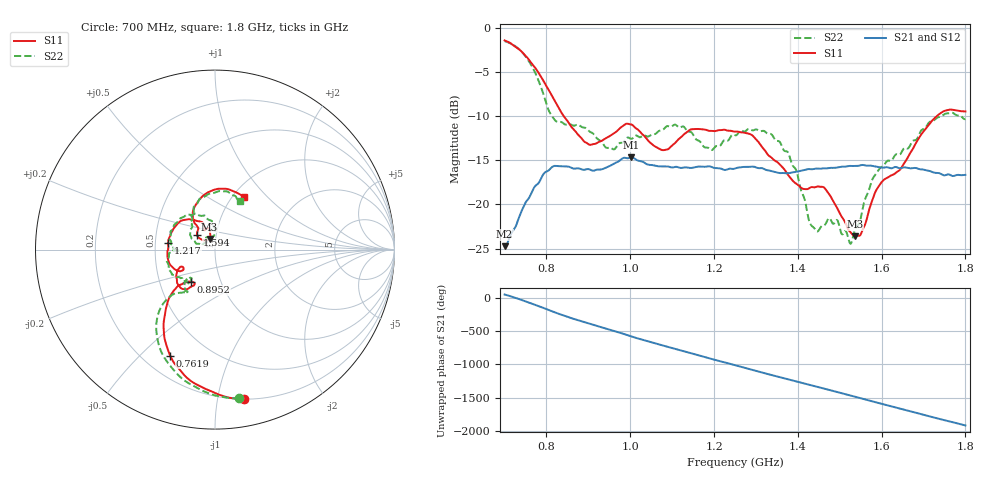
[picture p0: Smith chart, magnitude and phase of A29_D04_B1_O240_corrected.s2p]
! Created with skrf 1.9.0 (http://scikit-rf.org).
# Hz S RI R 50.0
!freq ReS11 ImS11 ReS21 ImS21 ReS12 ImS12 ReS22 ImS22
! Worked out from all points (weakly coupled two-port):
!   1601 points, 700 MHz to 1.8 GHz, reference 50 ohm
!   highest |S21| = -14.67 dB at 1.002 GHz (marker M1); lowest = -24.7 dB at 700 MHz (marker M2)
!   lowest |S11| = -23.6 dB at 1.536 GHz (marker M3), VSWR 1.14, Z = 46.8 + j5.51 ohm
!   |S11| at or under -10 dB: 841.1 MHz to 1.731 GHz (890.1 MHz wide, 69.2 % of centre)
!   |S22| runs from -24.4 to -1.5 dB; largest |S21 - S12| = 0.0033
!   S11 on the Smith chart (normalised r, x): 700 MHz: 0.20, -1.19; 761.9 MHz: 0.31, -0.62; 895.2 MHz: 0.72, -0.27; 1.217 GHz: 0.59, +0.05; 1.594 GHz: 0.81, +0.13; 1.8 GHz: 1.12, +0.75
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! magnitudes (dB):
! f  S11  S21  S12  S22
! 700 MHz  -1.4  -24.7  -24.5  -1.5
! 761.9 MHz  -3.9  -18.9  -18.9  -4.1
! 818.2 MHz  -8.1  -15.6  -15.8  -10.3
! 883.6 MHz  -12.5  -16.0  -15.9  -11.2
! 895.2 MHz  -13.0  -16.0  -16.1  -11.4
! 957.8 MHz  -12.0  -15.5  -15.5  -13.7
! 1.002 GHz  -10.9  -14.7  -14.8  -12.6
! 1.067 GHz  -13.6  -15.7  -15.6  -11.7
! 1.217 GHz  -11.6  -15.9  -16.0  -13.2
! 1.25 GHz  -11.7  -15.9  -15.9  -12.2
! 1.357 GHz  -15.5  -16.4  -16.4  -12.9
! 1.396 GHz  -17.6  -16.3  -16.3  -16.1
! 1.434 GHz  -18.0  -16.0  -16.0  -22.4
! 1.466 GHz  -18.3  -15.9  -15.9  -22.2
! 1.493 GHz  -20.4  -15.8  -15.8  -21.7
! 1.525 GHz  -23.1  -15.6  -15.6  -24.4
! 1.536 GHz  -23.6  -15.6  -15.6  -22.9
! 1.553 GHz  -23.0  -15.5  -15.6  -20.8
! 1.594 GHz  -17.8  -15.8  -15.8  -16.0
! 1.617 GHz  -16.9  -15.8  -15.8  -15.0
! 1.733 GHz  -9.9  -16.4  -16.4  -10.2
! 1.8 GHz  -9.5  -16.6  -16.6  -10.3
